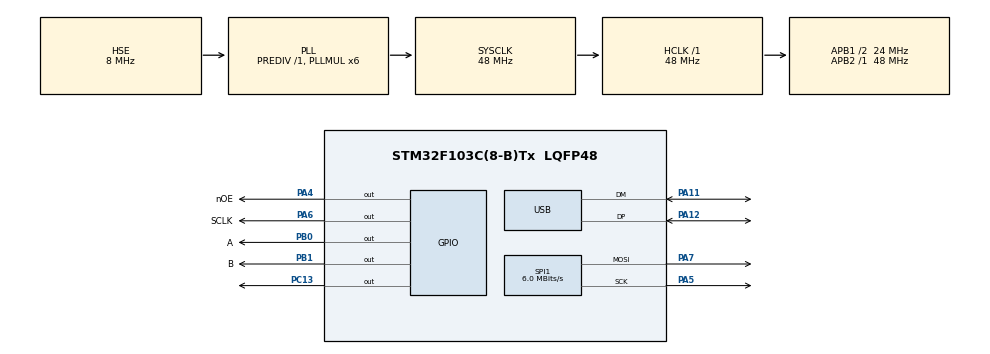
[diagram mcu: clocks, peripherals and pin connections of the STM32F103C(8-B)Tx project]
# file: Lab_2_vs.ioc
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Mcu.Family=STM32F1
Mcu.Name=STM32F103C(8-B)Tx
Mcu.Package=LQFP48
NVIC.PriorityGroup=NVIC_PRIORITYGROUP_4
NVIC.TIM4_IRQn=true\:0\:0\:false\:false\:true\:true\:true\:true
NVIC.USB_LP_CAN1_RX0_IRQn=true\:0\:0\:false\:false\:true\:false\:true\:true
PA11.Mode=Device
PA11.Signal=USB_DM
PA12.Mode=Device
PA12.Signal=USB_DP
PA13.Mode=Serial_Wire
PA13.Signal=SYS_JTMS-SWDIO
PA14.Mode=Serial_Wire
PA14.Signal=SYS_JTCK-SWCLK
PA4.GPIO_Label=nOE
PA4.Signal=GPIO_Output
PA5.Mode=TX_Only_Simplex_Unidirect_Master
PA5.Signal=SPI1_SCK
PA6.GPIO_Label=SCLK
PA6.Signal=GPIO_Output
PA7.Mode=TX_Only_Simplex_Unidirect_Master
PA7.Signal=SPI1_MOSI
PB0.GPIO_Label=A
PB0.Signal=GPIO_Output
PB1.GPIO_Label=B
PB1.Signal=GPIO_Output
PC13-TAMPER-RTC.Signal=GPIO_Output
PD0-OSC_IN.Mode=HSE-External-Oscillator
PD0-OSC_IN.Signal=RCC_OSC_IN
PD1-OSC_OUT.Mode=HSE-External-Oscillator
PD1-OSC_OUT.Signal=RCC_OSC_OUT
ProjectManager.HeapSize=0x200
ProjectManager.StackSize=0x400
ProjectManager.TargetToolchain=STM32CubeIDE
RCC.AHBFreq_Value=48000000
RCC.APB1CLKDivider=RCC_HCLK_DIV2
RCC.APB1Freq_Value=24000000
RCC.APB1TimFreq_Value=48000000
RCC.APB2Freq_Value=48000000
RCC.APB2TimFreq_Value=48000000
RCC.HCLKFreq_Value=48000000
RCC.PLLMUL=RCC_PLL_MUL6
RCC.SYSCLKFreq_VALUE=48000000
RCC.SYSCLKSource=RCC_SYSCLKSOURCE_PLLCLK
RCC.USBFreq_Value=48000000
SPI1.BaudRatePrescaler=SPI_BAUDRATEPRESCALER_8
SPI1.CalculateBaudRate=6.0 MBits/s
SPI1.Direction=SPI_DIRECTION_2LINES
SPI1.Mode=SPI_MODE_MASTER
SPI1.VirtualType=VM_MASTER
TIM4.Channel-PWM\ Generation1\ No\ Output=TIM_CHANNEL_1
TIM4.Period=1000
TIM4.Prescaler=48000
USB_DEVICE.CLASS_NAME_FS=CDC
USB_DEVICE.PRODUCT_STRING_CDC_FS=STM32 Virtual Port
USB_DEVICE.VirtualMode=Cdc
USB_DEVICE.VirtualModeFS=Cdc_FS
VP_TIM4_VS_no_output1.Mode=PWM Generation1 No Output
VP_USB_DEVICE_VS_USB_DEVICE_CDC_FS.Mode=CDC_FS
board=custom

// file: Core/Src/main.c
/* USER CODE BEGIN Header */
/**
 ******************************************************************************
 * @file           : main.c
 * @brief          : Main program body
 ******************************************************************************
 * @attention
 *
 * Copyright (c) 2023 STMicroelectronics.
 * All rights reserved.
 *
 * This software is licensed under terms that can be found in the LICENSE file
 * in the root directory of this software component.
 * If no LICENSE file comes with this software, it is provided AS-IS.
 *
 ******************************************************************************
 */
/* USER CODE END Header */
#include "main.h"
#include "usb_device.h"

/* USER CODE BEGIN Includes */
#include "usbd_cdc_if.h"
#include "string.h"

#include "math.h"
#include <locale.h>
#include <time.h>
#include "disp1color.h"
#include "font.h"
/* USER CODE END Includes */

/* USER CODE BEGIN PD */
#define f6x8_MONO_WIDTH 6
#define WIDTH 32
#define HEIGHT 16
#define MAX_LENGTH 100
/* USER CODE END PD */

SPI_HandleTypeDef hspi1;

TIM_HandleTypeDef htim4;

/* USER CODE BEGIN PV */
//int16_t buffer[0] = {0};
uint8_t buffer[1] = {0};
char *heartbeat = "HEARTBEAT\n";

extern uint8_t data1[16], data2[16], data3[16], data4[16];

int8_t hitbox1[WIDTH] = {0, 0, 0, 0, 0, 0, 0, 0, 0, 0, 0, 0, 0, 0, 0, 0, 0, 0, 0, 0, 0, 0, 0, 0, 0, 0, 0, 0, 0, 0, 0, 0};

/* USER CODE END PV */

void SystemClock_Config(void);
static void MX_GPIO_Init(void);
static void MX_SPI1_Init(void);
static void MX_TIM4_Init(void);

/* USER CODE BEGIN 0 */
// Function for load data to led panel
void disp_row(uint16_t row) {

	if (row == 0) {

		for (uint8_t i = 0; i < 6; i++) {
			HAL_SPI_Transmit(&hspi1, &data1, 16, 10);
		}

		HAL_GPIO_WritePin(SCLK_GPIO_Port, SCLK_Pin, GPIO_PIN_RESET);
		HAL_GPIO_WritePin(SCLK_GPIO_Port, SCLK_Pin, GPIO_PIN_SET);

		HAL_GPIO_WritePin(A_GPIO_Port, A_Pin, GPIO_PIN_RESET);
		HAL_GPIO_WritePin(B_GPIO_Port, B_Pin, GPIO_PIN_RESET);
	}
	if (row == 1) {

		for (uint8_t i = 0; i < 6; i++) {
			HAL_SPI_Transmit(&hspi1, &data2, 16, 10);
		}

		HAL_GPIO_WritePin(SCLK_GPIO_Port, SCLK_Pin, GPIO_PIN_RESET);
		HAL_GPIO_WritePin(SCLK_GPIO_Port, SCLK_Pin, GPIO_PIN_SET);

		HAL_GPIO_WritePin(A_GPIO_Port, A_Pin, GPIO_PIN_SET);
		HAL_GPIO_WritePin(B_GPIO_Port, B_Pin, GPIO_PIN_RESET);
	}

	if (row == 2) {

		for (uint8_t i = 0; i < 6; i++) {
			HAL_SPI_Transmit(&hspi1, &data3, 16, 10);
		}

		HAL_GPIO_WritePin(SCLK_GPIO_Port, SCLK_Pin, GPIO_PIN_RESET);
		HAL_GPIO_WritePin(SCLK_GPIO_Port, SCLK_Pin, GPIO_PIN_SET);

		HAL_GPIO_WritePin(A_GPIO_Port, A_Pin, GPIO_PIN_RESET);
		HAL_GPIO_WritePin(B_GPIO_Port, B_Pin, GPIO_PIN_SET);
	}

	if (row == 3) {

		for (uint8_t i = 0; i < 6; i++) {
			HAL_SPI_Transmit(&hspi1, &data4, 16, 10);
		}

		HAL_GPIO_WritePin(SCLK_GPIO_Port, SCLK_Pin, GPIO_PIN_RESET);
		HAL_GPIO_WritePin(SCLK_GPIO_Port, SCLK_Pin, GPIO_PIN_SET);

		HAL_GPIO_WritePin(A_GPIO_Port, A_Pin, GPIO_PIN_SET);
		HAL_GPIO_WritePin(B_GPIO_Port, B_Pin, GPIO_PIN_SET);
	}

	HAL_GPIO_WritePin(nOE_GPIO_Port, nOE_Pin, GPIO_PIN_SET);
	for (uint32_t x = 0; x <= 300; x++) {
	};
	HAL_GPIO_WritePin(nOE_GPIO_Port, nOE_Pin, GPIO_PIN_RESET);
}
/* USER CODE END 0 */

int main(void)
{

  /* MCU Configuration--------------------------------------------------------*/

  /* Reset of all peripherals, Initializes the Flash interface and the Systick. */
  HAL_Init();

  /* Configure the system clock */
  SystemClock_Config();

  /* Initialize all configured peripherals */
  MX_GPIO_Init();
  MX_SPI1_Init();
  MX_USB_DEVICE_Init();
  MX_TIM4_Init();
  /* USER CODE BEGIN 2 */
	HAL_TIM_Base_Start_IT(&htim4);
  /* USER CODE END 2 */

  /* Infinite loop */
  /* USER CODE BEGIN WHILE */
	while (1)
	{
		// случай, когда массив не заполнен
		if (hitbox1[0] == 0) {
			for (int8_t i = WIDTH-1; i >= 0; i--) {
				if (hitbox1[i] == 0) {
					hitbox1[i] = buffer[0];
					break;
				}
			}
		}

		// случай, когда весь массив заполнен
		if (hitbox1[0] != 0) {
			hitbox1[31] = 0;
			for (int8_t i = WIDTH-1; i >= 0; i--) {
				hitbox1[i] = hitbox1[i-1];
			}
			hitbox1[0] = buffer[0];
		}

		// рисуем на доске
		for (uint16_t i = 0; i < HEIGHT; i++) {
			for (int8_t j = WIDTH-1; j >= 0; j--) {
				disp1color_DrawPixel(j, i, 0);
			}
		}

		for (int8_t i = WIDTH-1; i >= 0; i--) {
			disp1color_DrawPixel(i, hitbox1[i], 1);
		}

		// Отправка данных в панель
		disp1color_UpdateFromBuff();
		prepare_data();
		for (uint8_t i = 0; i < 20; i++) {
			disp_row(0);
			disp_row(1);
			disp_row(2);
			disp_row(3);
		}
    /* USER CODE END WHILE */

	}
}

void SystemClock_Config(void)
{
  RCC_OscInitTypeDef RCC_OscInitStruct = {0};
  RCC_ClkInitTypeDef RCC_ClkInitStruct = {0};
  RCC_PeriphCLKInitTypeDef PeriphClkInit = {0};

  /** Initializes the RCC Oscillators according to the specified parameters
  * in the RCC_OscInitTypeDef structure.
  */
  RCC_OscInitStruct.OscillatorType = RCC_OSCILLATORTYPE_HSE;
  RCC_OscInitStruct.HSEState = RCC_HSE_ON;
  RCC_OscInitStruct.HSEPredivValue = RCC_HSE_PREDIV_DIV1;
  RCC_OscInitStruct.HSIState = RCC_HSI_ON;
  RCC_OscInitStruct.PLL.PLLState = RCC_PLL_ON;
  RCC_OscInitStruct.PLL.PLLSource = RCC_PLLSOURCE_HSE;
  RCC_OscInitStruct.PLL.PLLMUL = RCC_PLL_MUL6;
  if (HAL_RCC_OscConfig(&RCC_OscInitStruct) != HAL_OK)
  {
    Error_Handler();
  }

  /** Initializes the CPU, AHB and APB buses clocks
  */
  RCC_ClkInitStruct.ClockType = RCC_CLOCKTYPE_HCLK|RCC_CLOCKTYPE_SYSCLK
                              |RCC_CLOCKTYPE_PCLK1|RCC_CLOCKTYPE_PCLK2;
  RCC_ClkInitStruct.SYSCLKSource = RCC_SYSCLKSOURCE_PLLCLK;
  RCC_ClkInitStruct.AHBCLKDivider = RCC_SYSCLK_DIV1;
  RCC_ClkInitStruct.APB1CLKDivider = RCC_HCLK_DIV2;
  RCC_ClkInitStruct.APB2CLKDivider = RCC_HCLK_DIV1;

  if (HAL_RCC_ClockConfig(&RCC_ClkInitStruct, FLASH_LATENCY_1) != HAL_OK)
  {
    Error_Handler();
  }
  PeriphClkInit.PeriphClockSelection = RCC_PERIPHCLK_USB;
  PeriphClkInit.UsbClockSelection = RCC_USBCLKSOURCE_PLL;
  if (HAL_RCCEx_PeriphCLKConfig(&PeriphClkInit) != HAL_OK)
  {
    Error_Handler();
  }
}

static void MX_SPI1_Init(void)
{

  /* SPI1 parameter configuration*/
  hspi1.Instance = SPI1;
  hspi1.Init.Mode = SPI_MODE_MASTER;
  hspi1.Init.Direction = SPI_DIRECTION_2LINES;
  hspi1.Init.DataSize = SPI_DATASIZE_8BIT;
  hspi1.Init.CLKPolarity = SPI_POLARITY_LOW;
  hspi1.Init.CLKPhase = SPI_PHASE_1EDGE;
  hspi1.Init.NSS = SPI_NSS_SOFT;
  hspi1.Init.BaudRatePrescaler = SPI_BAUDRATEPRESCALER_8;
  hspi1.Init.FirstBit = SPI_FIRSTBIT_MSB;
  hspi1.Init.TIMode = SPI_TIMODE_DISABLE;
  hspi1.Init.CRCCalculation = SPI_CRCCALCULATION_DISABLE;
  hspi1.Init.CRCPolynomial = 10;
  if (HAL_SPI_Init(&hspi1) != HAL_OK)
  {
    Error_Handler();
  }

}

static void MX_TIM4_Init(void)
{

  TIM_MasterConfigTypeDef sMasterConfig = {0};
  TIM_OC_InitTypeDef sConfigOC = {0};

  htim4.Instance = TIM4;
  htim4.Init.Prescaler = 48000;
  htim4.Init.CounterMode = TIM_COUNTERMODE_UP;
  htim4.Init.Period = 1000;
  htim4.Init.ClockDivision = TIM_CLOCKDIVISION_DIV1;
  htim4.Init.AutoReloadPreload = TIM_AUTORELOAD_PRELOAD_DISABLE;
  if (HAL_TIM_PWM_Init(&htim4) != HAL_OK)
  {
    Error_Handler();
  }
  sMasterConfig.MasterOutputTrigger = TIM_TRGO_RESET;
  sMasterConfig.MasterSlaveMode = TIM_MASTERSLAVEMODE_DISABLE;
  if (HAL_TIMEx_MasterConfigSynchronization(&htim4, &sMasterConfig) != HAL_OK)
  {
    Error_Handler();
  }
  sConfigOC.OCMode = TIM_OCMODE_PWM1;
  sConfigOC.Pulse = 0;
  sConfigOC.OCPolarity = TIM_OCPOLARITY_HIGH;
  sConfigOC.OCFastMode = TIM_OCFAST_DISABLE;
  if (HAL_TIM_PWM_ConfigChannel(&htim4, &sConfigOC, TIM_CHANNEL_1) != HAL_OK)
  {
    Error_Handler();
  }

}

static void MX_GPIO_Init(void)
{
  GPIO_InitTypeDef GPIO_InitStruct = {0};

  /* GPIO Ports Clock Enable */
  __HAL_RCC_GPIOC_CLK_ENABLE();
  __HAL_RCC_GPIOD_CLK_ENABLE();
  __HAL_RCC_GPIOA_CLK_ENABLE();
  __HAL_RCC_GPIOB_CLK_ENABLE();

  /*Configure GPIO pin Output Level */
  HAL_GPIO_WritePin(GPIOC, GPIO_PIN_13, GPIO_PIN_RESET);

  /*Configure GPIO pin Output Level */
  HAL_GPIO_WritePin(GPIOA, nOE_Pin|SCLK_Pin, GPIO_PIN_RESET);

  /*Configure GPIO pin Output Level */
  HAL_GPIO_WritePin(GPIOB, A_Pin|B_Pin, GPIO_PIN_RESET);

  /*Configure GPIO pin : PC13 */
  GPIO_InitStruct.Pin = GPIO_PIN_13;
  GPIO_InitStruct.Mode = GPIO_MODE_OUTPUT_PP;
  GPIO_InitStruct.Pull = GPIO_NOPULL;
  GPIO_InitStruct.Speed = GPIO_SPEED_FREQ_LOW;
  HAL_GPIO_Init(GPIOC, &GPIO_InitStruct);

  /*Configure GPIO pins : nOE_Pin SCLK_Pin */
  GPIO_InitStruct.Pin = nOE_Pin|SCLK_Pin;
  GPIO_InitStruct.Mode = GPIO_MODE_OUTPUT_PP;
  GPIO_InitStruct.Pull = GPIO_NOPULL;
  GPIO_InitStruct.Speed = GPIO_SPEED_FREQ_LOW;
  HAL_GPIO_Init(GPIOA, &GPIO_InitStruct);

  /*Configure GPIO pins : A_Pin B_Pin */
  GPIO_InitStruct.Pin = A_Pin|B_Pin;
  GPIO_InitStruct.Mode = GPIO_MODE_OUTPUT_PP;
  GPIO_InitStruct.Pull = GPIO_NOPULL;
  GPIO_InitStruct.Speed = GPIO_SPEED_FREQ_LOW;
  HAL_GPIO_Init(GPIOB, &GPIO_InitStruct);

}

void Error_Handler(void)
{
	__disable_irq();
	while (1)
	{
	}
}
